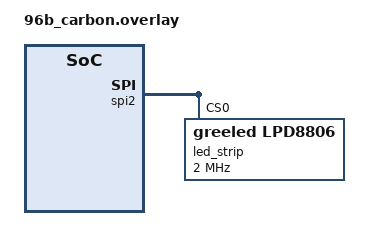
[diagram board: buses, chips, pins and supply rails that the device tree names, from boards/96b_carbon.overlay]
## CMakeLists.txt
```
# SPDX-License-Identifier: Apache-2.0

cmake_minimum_required(VERSION 3.20.0)

find_package(Zephyr REQUIRED HINTS $ENV{ZEPHYR_BASE})
project(led_lpd8806)

FILE(GLOB app_sources src/*.c)
target_sources(app PRIVATE ${app_sources})
```

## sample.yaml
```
sample:
  description: Demonstration of the lpd880x LED driver
  name: LPD880x sample
tests:
  sample.drivers.led.lpd8806:
    platform_allow: 96b_carbon/stm32f401xe
    tags: LED
```

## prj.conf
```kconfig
# This file expresses generic requirements ONLY; see README.rst.

CONFIG_LOG=y
CONFIG_BOOT_BANNER=y
CONFIG_POLL=y

CONFIG_LED_STRIP=y
CONFIG_LPD880X_STRIP=y
```

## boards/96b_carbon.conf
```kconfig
CONFIG_SPI_STM32=y
CONFIG_SPI_STM32_INTERRUPT=y
```

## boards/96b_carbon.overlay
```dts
/*
 * Copyright (c) 2019, Linaro Limited
 *
 * SPDX-License-Identifier: Apache-2.0
 */

&spi2 {

	led_strip@0 {
		compatible = "greeled,lpd8806";
		reg = <0>;
		spi-max-frequency = <DT_FREQ_M(2)>;
	};
};
```

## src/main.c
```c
/*
 * Copyright (c) 2017 Linaro Limited
 *
 * SPDX-License-Identifier: Apache-2.0
 */

#include <errno.h>
#include <string.h>

#define LOG_LEVEL CONFIG_LOG_DEFAULT_LEVEL
#include <zephyr/logging/log.h>
LOG_MODULE_REGISTER(main);

#include <zephyr/kernel.h>
#include <zephyr/drivers/led_strip.h>
#include <zephyr/device.h>
#include <zephyr/drivers/spi.h>
#include <zephyr/sys/util.h>

/*
 * Number of RGB LEDs in the LED strip, adjust as needed.
 */
#define STRIP_NUM_LEDS 32

#define DELAY_TIME K_MSEC(40)

static const struct led_rgb colors[] = {
	{ .r = 0xff, .g = 0x00, .b = 0x00, }, /* red */
	{ .r = 0x00, .g = 0xff, .b = 0x00, }, /* green */
	{ .r = 0x00, .g = 0x00, .b = 0xff, }, /* blue */
};

static const struct led_rgb black = {
	.r = 0x00,
	.g = 0x00,
	.b = 0x00,
};

struct led_rgb strip_colors[STRIP_NUM_LEDS];

static const struct device *const strip = DEVICE_DT_GET_ANY(greeled_lpd8806);

const struct led_rgb *color_at(size_t time, size_t i)
{
	size_t rgb_start = time % STRIP_NUM_LEDS;

	if (rgb_start <= i && i < rgb_start + ARRAY_SIZE(colors)) {
		return &colors[i - rgb_start];
	} else {
		return &black;
	}
}

int main(void)
{
	size_t i, time;

	if (!strip) {
		LOG_ERR("LED strip device not found");
		return 0;
	} else if (!device_is_ready(strip)) {
		LOG_INF("LED strip device %s is not ready", strip->name);
		return 0;
	}
	LOG_INF("Found LED strip device %s", strip->name);

	/*
	 * Display a pattern that "walks" the three primary colors
	 * down the strip until it reaches the end, then starts at the
	 * beginning.
	 */
	LOG_INF("Displaying pattern on strip");
	time = 0;
	while (1) {
		for (i = 0; i < STRIP_NUM_LEDS; i++) {
			memcpy(&strip_colors[i], color_at(time, i),
			       sizeof(strip_colors[i]));
		}
		led_strip_update_rgb(strip, strip_colors, STRIP_NUM_LEDS);
		k_sleep(DELAY_TIME);
		time++;
	}
	return 0;
}
```
